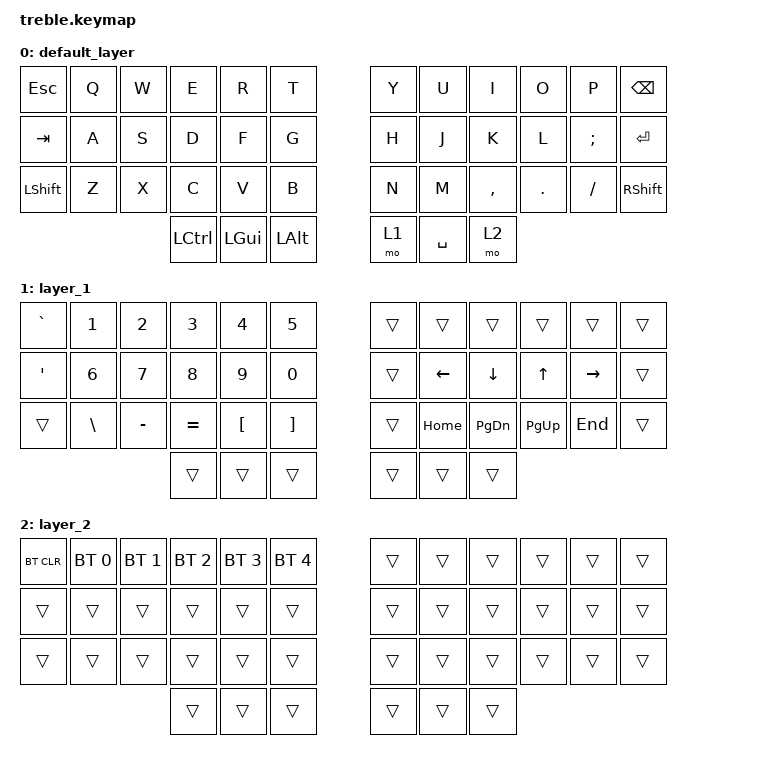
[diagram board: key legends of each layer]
#include <behaviors.dtsi>
#include <dt-bindings/zmk/bt.h>
#include <dt-bindings/zmk/keys.h>

/ {
    keymap {
        compatible = "zmk,keymap";

        default_layer {

// | Esc   |   Q   |   W   |   E   |   R   |   T   |               |   Y   |   U   |   I   |   O   |   P   | BSPC  |
// | Tab   |   A   |   S   |   D   |   F   |   G   |               |   H   |   J   |   K   |   L   |   ;   |   '   |
// | Shift |   Z   |   X   |   C   |   V   |   B   |               |   N   |   M   |   ,   |   .   |   /   | Shift |
//                                 | Ctrl  |  Cmd  |  Alt  |  L-1  |  spc  |  L-2  |

            bindings = <
&kp ESC   &kp Q  &kp W   &kp E   &kp R      &kp T                      &kp Y      &kp U  &kp I      &kp O    &kp P     &kp BSPC
&kp TAB   &kp A  &kp S   &kp D   &kp F      &kp G                      &kp H      &kp J  &kp K      &kp L    &kp SEMI  &kp ENTER
&kp LSHFT &kp Z  &kp X   &kp C   &kp V      &kp B                      &kp N      &kp M  &kp COMMA  &kp DOT  &kp FSLH  &kp RSHFT
                                 &kp LCTRL  &kp LGUI  &kp LALT  &mo 1  &kp SPACE  &mo 2
            >;
        };

        layer_1 {

// |   `   |   1   |   2   |   3   |   4   |   5   |               |       |       |       |       |       |       |
// |   '   |   6   |   7   |   8   |   9   |   0   |               |       | Left  | Down  |  Up   | Right |       |
// |       |   \   |   -   |   =   |   [   |   ]   |               |       | Home  | PG DN | PG UP | End   |       |
//                                 |       |       |       |       |       |       |

            bindings = <
&kp GRAVE  &kp N1    &kp N2     &kp N3     &kp N4    &kp N5                    &trans  &trans    &trans     &trans     &trans     &trans
&kp SQT    &kp N6    &kp N7     &kp N8     &kp N9    &kp N0                    &trans  &kp LEFT  &kp DOWN   &kp UP     &kp RIGHT  &trans
&trans     &kp BSLH  &kp MINUS  &kp EQUAL  &kp LBKT  &kp RBKT                  &trans  &kp HOME  &kp PG_DN  &kp PG_UP  &kp END    &trans
                                           &trans    &trans    &trans  &trans  &trans  &trans
            >;
        };

        layer_2 {

// | BTCLR |  BT1  |  BT2  |  BT3  |  BT4  |  BT5  |               |       |       |       |       |       |       |
// |       |       |       |       |       |       |               |       |       |       |       |       |       |
// |       |       |       |       |       |       |               |       |       |       |       |       |       |
//                                 |       |       |       |       |       |       |

            bindings = <
&bt BT_CLR  &bt BT_SEL 0  &bt BT_SEL 1  &bt BT_SEL 2  &bt BT_SEL 3  &bt BT_SEL 4                  &trans  &trans  &trans  &trans  &trans  &trans
&trans      &trans        &trans        &trans        &trans        &trans                        &trans  &trans  &trans  &trans  &trans  &trans
&trans      &trans        &trans        &trans        &trans        &trans                        &trans  &trans  &trans  &trans  &trans  &trans
                                                      &trans        &trans        &trans  &trans  &trans  &trans
            >;
        };
    };
};
